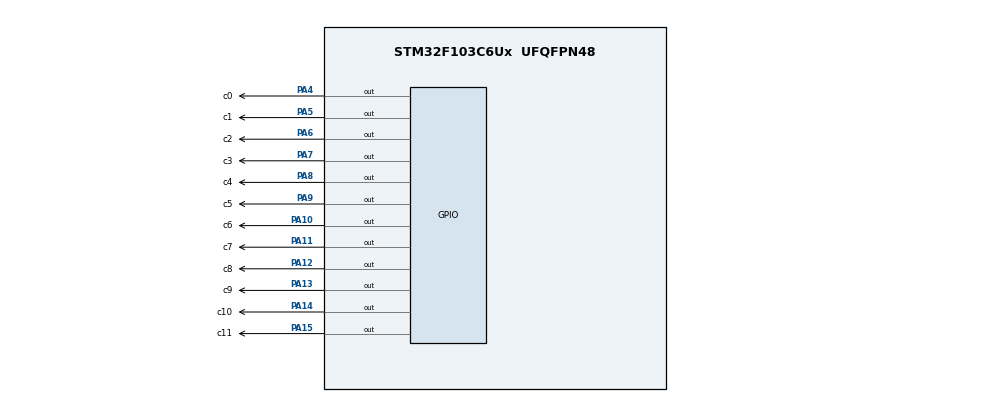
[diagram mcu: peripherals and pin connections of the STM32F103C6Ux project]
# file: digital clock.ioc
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Mcu.Family=STM32F1
Mcu.Name=STM32F103C6Ux
Mcu.Package=UFQFPN48
NVIC.PriorityGroup=NVIC_PRIORITYGROUP_4
PA10.GPIO_Label=c6
PA10.Signal=GPIO_Output
PA11.GPIO_Label=c7
PA11.Signal=GPIO_Output
PA12.GPIO_Label=c8
PA12.Signal=GPIO_Output
PA13.GPIO_Label=c9
PA13.Signal=GPIO_Output
PA14.GPIO_Label=c10
PA14.Signal=GPIO_Output
PA15.GPIO_Label=c11
PA15.Signal=GPIO_Output
PA4.GPIO_Label=c0
PA4.Signal=GPIO_Output
PA5.GPIO_Label=c1
PA5.Signal=GPIO_Output
PA6.GPIO_Label=c2
PA6.Signal=GPIO_Output
PA7.GPIO_Label=c3
PA7.Signal=GPIO_Output
PA8.GPIO_Label=c4
PA8.Signal=GPIO_Output
PA9.GPIO_Label=c5
PA9.Signal=GPIO_Output
ProjectManager.HeapSize=0x200
ProjectManager.StackSize=0x400
ProjectManager.TargetToolchain=STM32CubeIDE
RCC.APB1Freq_Value=8000000
RCC.APB2Freq_Value=8000000
VP_SYS_VS_ND.Mode=No_Debug
board=custom

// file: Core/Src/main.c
/* USER CODE BEGIN Header */
/**
  ******************************************************************************
  * @file           : main.c
  * @brief          : Main program body
  ******************************************************************************
  * @attention
  *
  * <h2><center>&copy; Copyright (c) 2022 STMicroelectronics.
  * All rights reserved.</center></h2>
  *
  * This software component is licensed by ST under BSD 3-Clause license,
  * the "License"; You may not use this file except in compliance with the
  * License. You may obtain a copy of the License at:
  *                        opensource.org/licenses/BSD-3-Clause
  *
  ******************************************************************************
  */
/* USER CODE END Header */
#include "main.h"

void SystemClock_Config(void);
static void MX_GPIO_Init(void);
void testLed(int);
void clearAllClock();
void setNumberOnClock(int);
void clearNumberOnClock(int);

/* USER CODE BEGIN 0 */
void testLed(int counter) {
	  if (counter>=12) counter=0; //reset counter
	  if (counter==0) HAL_GPIO_WritePin(c0_GPIO_Port, c0_Pin, GPIO_PIN_SET);
	  else HAL_GPIO_WritePin(c0_GPIO_Port, c0_Pin, GPIO_PIN_RESET);

	  if (counter==1) HAL_GPIO_WritePin(c1_GPIO_Port, c1_Pin, GPIO_PIN_SET);
	  else HAL_GPIO_WritePin(c1_GPIO_Port, c1_Pin, GPIO_PIN_RESET);

	  if (counter==2) HAL_GPIO_WritePin(c2_GPIO_Port, c2_Pin, GPIO_PIN_SET);
	  else HAL_GPIO_WritePin(c2_GPIO_Port, c2_Pin, GPIO_PIN_RESET);

	  if (counter==3) HAL_GPIO_WritePin(c3_GPIO_Port, c3_Pin, GPIO_PIN_SET);
	  else HAL_GPIO_WritePin(c3_GPIO_Port, c3_Pin, GPIO_PIN_RESET);

	  if (counter==4) HAL_GPIO_WritePin(c4_GPIO_Port, c4_Pin, GPIO_PIN_SET);
	  else HAL_GPIO_WritePin(c4_GPIO_Port, c4_Pin, GPIO_PIN_RESET);

	  if (counter==5) HAL_GPIO_WritePin(c5_GPIO_Port, c5_Pin, GPIO_PIN_SET);
	  else HAL_GPIO_WritePin(c5_GPIO_Port, c5_Pin, GPIO_PIN_RESET);

	  if (counter==6) HAL_GPIO_WritePin(c6_GPIO_Port, c6_Pin, GPIO_PIN_SET);
	  else HAL_GPIO_WritePin(c6_GPIO_Port, c6_Pin, GPIO_PIN_RESET);

	  if (counter==7) HAL_GPIO_WritePin(c7_GPIO_Port, c7_Pin, GPIO_PIN_SET);
	  else HAL_GPIO_WritePin(c7_GPIO_Port, c7_Pin, GPIO_PIN_RESET);

	  if (counter==8) HAL_GPIO_WritePin(c8_GPIO_Port, c8_Pin, GPIO_PIN_SET);
	  else HAL_GPIO_WritePin(c7_GPIO_Port, c8_Pin, GPIO_PIN_RESET);

	  if (counter==9) HAL_GPIO_WritePin(c9_GPIO_Port, c9_Pin, GPIO_PIN_SET);
	  else HAL_GPIO_WritePin(c9_GPIO_Port, c9_Pin, GPIO_PIN_RESET);

	  if (counter==10) HAL_GPIO_WritePin(c10_GPIO_Port, c10_Pin, GPIO_PIN_SET);
	  else HAL_GPIO_WritePin(c10_GPIO_Port, c10_Pin, GPIO_PIN_RESET);

	  if (counter==11) HAL_GPIO_WritePin(c11_GPIO_Port, c11_Pin, GPIO_PIN_SET);
	  else HAL_GPIO_WritePin(c0_GPIO_Port, c11_Pin, GPIO_PIN_RESET);
}

void clearAllClock() {
	HAL_GPIO_WritePin(c0_GPIO_Port, c0_Pin, GPIO_PIN_RESET);
	HAL_GPIO_WritePin(c1_GPIO_Port, c1_Pin, GPIO_PIN_RESET);
	HAL_GPIO_WritePin(c2_GPIO_Port, c2_Pin, GPIO_PIN_RESET);
	HAL_GPIO_WritePin(c3_GPIO_Port, c3_Pin, GPIO_PIN_RESET);
	HAL_GPIO_WritePin(c4_GPIO_Port, c4_Pin, GPIO_PIN_RESET);
	HAL_GPIO_WritePin(c5_GPIO_Port, c5_Pin, GPIO_PIN_RESET);
	HAL_GPIO_WritePin(c6_GPIO_Port, c6_Pin, GPIO_PIN_RESET);
	HAL_GPIO_WritePin(c7_GPIO_Port, c7_Pin, GPIO_PIN_RESET);
	HAL_GPIO_WritePin(c8_GPIO_Port, c8_Pin, GPIO_PIN_RESET);
	HAL_GPIO_WritePin(c9_GPIO_Port, c9_Pin, GPIO_PIN_RESET);
	HAL_GPIO_WritePin(c10_GPIO_Port, c10_Pin, GPIO_PIN_RESET);
	HAL_GPIO_WritePin(c11_GPIO_Port, c11_Pin, GPIO_PIN_RESET);
}

void setNumberOnClock(int counter) {
	if (counter==0) HAL_GPIO_WritePin(c0_GPIO_Port, c0_Pin, GPIO_PIN_SET);
	if (counter==1) HAL_GPIO_WritePin(c1_GPIO_Port, c1_Pin, GPIO_PIN_SET);
	if (counter==2) HAL_GPIO_WritePin(c2_GPIO_Port, c2_Pin, GPIO_PIN_SET);
	if (counter==3) HAL_GPIO_WritePin(c3_GPIO_Port, c3_Pin, GPIO_PIN_SET);
	if (counter==4) HAL_GPIO_WritePin(c4_GPIO_Port, c4_Pin, GPIO_PIN_SET);
	if (counter==5) HAL_GPIO_WritePin(c5_GPIO_Port, c5_Pin, GPIO_PIN_SET);
	if (counter==6) HAL_GPIO_WritePin(c6_GPIO_Port, c6_Pin, GPIO_PIN_SET);
	if (counter==7) HAL_GPIO_WritePin(c7_GPIO_Port, c7_Pin, GPIO_PIN_SET);
	if (counter==8) HAL_GPIO_WritePin(c8_GPIO_Port, c8_Pin, GPIO_PIN_SET);
	if (counter==9) HAL_GPIO_WritePin(c9_GPIO_Port, c9_Pin, GPIO_PIN_SET);
	if (counter==10) HAL_GPIO_WritePin(c10_GPIO_Port, c10_Pin, GPIO_PIN_SET);
	if (counter==11) HAL_GPIO_WritePin(c11_GPIO_Port, c11_Pin, GPIO_PIN_SET);

}

void clearNumberOnClock(int counter) {
	if (counter==0) HAL_GPIO_WritePin(c0_GPIO_Port, c0_Pin, GPIO_PIN_RESET);
	if (counter==1) HAL_GPIO_WritePin(c1_GPIO_Port, c1_Pin, GPIO_PIN_RESET);
	if (counter==2) HAL_GPIO_WritePin(c2_GPIO_Port, c2_Pin, GPIO_PIN_RESET);
	if (counter==3) HAL_GPIO_WritePin(c3_GPIO_Port, c3_Pin, GPIO_PIN_RESET);
	if (counter==4) HAL_GPIO_WritePin(c4_GPIO_Port, c4_Pin, GPIO_PIN_RESET);
	if (counter==5) HAL_GPIO_WritePin(c5_GPIO_Port, c5_Pin, GPIO_PIN_RESET);
	if (counter==6) HAL_GPIO_WritePin(c6_GPIO_Port, c6_Pin, GPIO_PIN_RESET);
	if (counter==7) HAL_GPIO_WritePin(c7_GPIO_Port, c7_Pin, GPIO_PIN_RESET);
	if (counter==8) HAL_GPIO_WritePin(c8_GPIO_Port, c8_Pin, GPIO_PIN_RESET);
	if (counter==9) HAL_GPIO_WritePin(c9_GPIO_Port, c9_Pin, GPIO_PIN_RESET);
	if (counter==10) HAL_GPIO_WritePin(c10_GPIO_Port, c10_Pin, GPIO_PIN_RESET);
	if (counter==11) HAL_GPIO_WritePin(c11_GPIO_Port, c11_Pin, GPIO_PIN_RESET);

}
/* USER CODE END 0 */

int main(void)
{
  /* USER CODE BEGIN 1 */
	int second=-1, minutes=0, hour=0;

  /* USER CODE END 1 */

  /* MCU Configuration--------------------------------------------------------*/

  /* Reset of all peripherals, Initializes the Flash interface and the Systick. */
  HAL_Init();

  /* Configure the system clock */
  SystemClock_Config();

  /* Initialize all configured peripherals */
  MX_GPIO_Init();

  /* Infinite loop */
  /* USER CODE BEGIN WHILE */
  while (1)
  {
	  //update clock
	  second++;
	  if (second>=60) {
		  second=0;
		  minutes++;
	  }
	  if (minutes>=60) {
		  minutes=0;
		  hour++;
	  }
	  if (hour>=12) hour=0;

	  //clear all led
	  clearAllClock();
	  // set number dung voi thoi diem hien tai
	  setNumberOnClock(second/5);
	  setNumberOnClock(minutes/5);
	  setNumberOnClock(hour);

	  //set delay
	  HAL_Delay(1000);
    /* USER CODE END WHILE */

  }
}

void SystemClock_Config(void)
{
  RCC_OscInitTypeDef RCC_OscInitStruct = {0};
  RCC_ClkInitTypeDef RCC_ClkInitStruct = {0};

  /** Initializes the RCC Oscillators according to the specified parameters
  * in the RCC_OscInitTypeDef structure.
  */
  RCC_OscInitStruct.OscillatorType = RCC_OSCILLATORTYPE_HSI;
  RCC_OscInitStruct.HSIState = RCC_HSI_ON;
  RCC_OscInitStruct.HSICalibrationValue = RCC_HSICALIBRATION_DEFAULT;
  RCC_OscInitStruct.PLL.PLLState = RCC_PLL_NONE;
  if (HAL_RCC_OscConfig(&RCC_OscInitStruct) != HAL_OK)
  {
    Error_Handler();
  }
  /** Initializes the CPU, AHB and APB buses clocks
  */
  RCC_ClkInitStruct.ClockType = RCC_CLOCKTYPE_HCLK|RCC_CLOCKTYPE_SYSCLK
                              |RCC_CLOCKTYPE_PCLK1|RCC_CLOCKTYPE_PCLK2;
  RCC_ClkInitStruct.SYSCLKSource = RCC_SYSCLKSOURCE_HSI;
  RCC_ClkInitStruct.AHBCLKDivider = RCC_SYSCLK_DIV1;
  RCC_ClkInitStruct.APB1CLKDivider = RCC_HCLK_DIV1;
  RCC_ClkInitStruct.APB2CLKDivider = RCC_HCLK_DIV1;

  if (HAL_RCC_ClockConfig(&RCC_ClkInitStruct, FLASH_LATENCY_0) != HAL_OK)
  {
    Error_Handler();
  }
}

static void MX_GPIO_Init(void)
{
  GPIO_InitTypeDef GPIO_InitStruct = {0};

  /* GPIO Ports Clock Enable */
  __HAL_RCC_GPIOA_CLK_ENABLE();

  /*Configure GPIO pin Output Level */
  HAL_GPIO_WritePin(GPIOA, c0_Pin|c1_Pin|c2_Pin|c3_Pin
                          |c4_Pin|c5_Pin|c6_Pin|c7_Pin
                          |c8_Pin|c9_Pin|c10_Pin|c11_Pin, GPIO_PIN_RESET);

  /*Configure GPIO pins : c0_Pin c1_Pin c2_Pin c3_Pin
                           c4_Pin c5_Pin c6_Pin c7_Pin
                           c8_Pin c9_Pin c10_Pin c11_Pin */
  GPIO_InitStruct.Pin = c0_Pin|c1_Pin|c2_Pin|c3_Pin
                          |c4_Pin|c5_Pin|c6_Pin|c7_Pin
                          |c8_Pin|c9_Pin|c10_Pin|c11_Pin;
  GPIO_InitStruct.Mode = GPIO_MODE_OUTPUT_PP;
  GPIO_InitStruct.Pull = GPIO_NOPULL;
  GPIO_InitStruct.Speed = GPIO_SPEED_FREQ_LOW;
  HAL_GPIO_Init(GPIOA, &GPIO_InitStruct);

}

void Error_Handler(void)
{
  __disable_irq();
  while (1)
  {
  }
}

/************************ (C) COPYRIGHT STMicroelectronics *****END OF FILE****/
